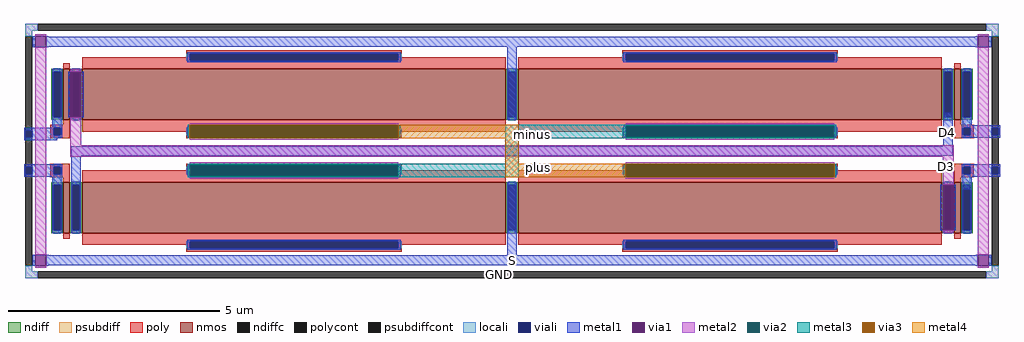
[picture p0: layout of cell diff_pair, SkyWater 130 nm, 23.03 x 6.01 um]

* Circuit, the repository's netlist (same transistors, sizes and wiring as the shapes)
** sch_path: /home/gilang_fajrul/chipalooza/sky130_gff_ip__bgr_1.2v/magic/diff_pair.sch
.subckt diff_pair minus plus D4 D3 S GND GND
*.PININFO minus:B plus:B D4:B D3:B S:B GND:B GND:B
XM3 D3 plus S GND sky130_fd_pr__nfet_01v8 L=10 W=1.2 nf=1 m=2
XM4 D4 minus S GND sky130_fd_pr__nfet_01v8 L=10 W=1.2 nf=1 m=2
XM1 D3 GND GND GND sky130_fd_pr__nfet_01v8 L=0.15 W=1.2 nf=1 m=2
XM2 D4 GND GND GND sky130_fd_pr__nfet_01v8 L=0.15 W=1.2 nf=1 m=2
.ends
.end

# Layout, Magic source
magic
tech sky130A
magscale 1 2
<< psubdiff >>
rect -218 507 -158 541
rect 4316 507 4376 541
rect -218 481 -184 507
rect 4342 481 4376 507
rect -218 -627 -184 -601
rect 4342 -627 4376 -601
rect -218 -661 -158 -627
rect 4316 -661 4376 -627
<< psubdiffcont >>
rect -158 507 4316 541
rect -218 -601 -184 481
rect 4342 -601 4376 481
rect -158 -661 4316 -627
<< poly >>
rect -38 65 -8 87
rect -100 49 -8 65
rect -100 15 -84 49
rect -50 15 -8 49
rect -100 -1 -8 15
rect 4166 65 4196 87
rect 4166 49 4258 65
rect 4166 15 4208 49
rect 4242 15 4258 49
rect 4166 -1 4258 15
rect -100 -135 -8 -119
rect -100 -169 -84 -135
rect -50 -169 -8 -135
rect -100 -185 -8 -169
rect 4166 -135 4258 -119
rect 4166 -169 4208 -135
rect 4242 -169 4258 -135
rect 4166 -185 4258 -169
rect -38 -207 -8 -185
<< polycont >>
rect -84 15 -50 49
rect 4208 15 4242 49
rect -84 -169 -50 -135
rect 4208 -169 4242 -135
<< locali >>
rect -218 507 -158 541
rect 4316 507 4376 541
rect -218 481 -184 507
rect 4342 481 4376 507
rect -84 49 -50 87
rect -84 -1 -50 15
rect 4208 49 4242 87
rect 4208 -1 4242 15
rect -84 -135 -50 -119
rect -84 -207 -50 -169
rect 4208 -135 4242 -119
rect 4208 -244 4242 -169
rect -218 -627 -184 -601
rect 4342 -627 4376 -601
rect -218 -661 -158 -627
rect 4316 -661 4376 -627
<< viali >>
rect -218 3 -184 37
rect -84 15 -50 49
rect 4208 15 4242 49
rect 4342 15 4376 49
rect -218 -169 -184 -135
rect -84 -169 -50 -135
rect 4208 -169 4242 -135
rect 4342 -169 4376 -135
<< metal1 >>
rect -182 430 -172 482
rect -120 479 -110 482
rect 4268 479 4278 482
rect -120 433 4278 479
rect -120 430 -110 433
rect 2056 320 2102 433
rect 4268 430 4278 433
rect 4330 430 4340 482
rect -15 99 -5 315
rect 47 99 57 315
rect 2062 99 2096 320
rect -90 49 -44 87
rect -224 37 -84 49
rect -224 3 -218 37
rect -184 15 -84 37
rect -50 15 -44 49
rect -184 3 -44 15
rect 548 6 558 58
rect 1542 6 1552 58
rect 2606 6 2616 58
rect 3600 6 3610 58
rect -224 -9 -66 3
rect 4114 -37 4160 120
rect 4202 61 4248 87
rect 4202 49 4382 61
rect 4202 15 4208 49
rect 4242 15 4342 49
rect 4376 15 4382 49
rect 4202 3 4382 15
rect -2 -83 4160 -37
rect -224 -135 -44 -123
rect -224 -169 -218 -135
rect -184 -169 -84 -135
rect -50 -169 -44 -135
rect -224 -181 -44 -169
rect -90 -207 -44 -181
rect -2 -214 44 -83
rect 548 -178 558 -126
rect 1542 -178 1552 -126
rect 2606 -178 2616 -126
rect 3600 -178 3610 -126
rect 4202 -135 4382 -123
rect 4202 -169 4208 -135
rect 4242 -169 4342 -135
rect 4376 -169 4382 -135
rect 4202 -181 4382 -169
rect -182 -602 -172 -550
rect -120 -553 -110 -550
rect 2056 -553 2102 -207
rect 4101 -435 4111 -219
rect 4163 -435 4173 -219
rect 4202 -240 4248 -181
rect 4268 -553 4278 -550
rect -120 -599 4278 -553
rect -120 -602 -110 -599
rect 4268 -602 4278 -599
rect 4330 -602 4340 -550
<< via1 >>
rect -172 430 -120 482
rect 4278 430 4330 482
rect -5 99 47 315
rect 558 6 1542 58
rect 2616 6 3600 58
rect 558 -178 1542 -126
rect 2616 -178 3600 -126
rect -172 -602 -120 -550
rect 4111 -435 4163 -219
rect 4278 -602 4330 -550
<< metal2 >>
rect -172 482 -120 492
rect -172 -550 -120 430
rect 4278 482 4330 492
rect -5 315 47 325
rect -5 -34 47 99
rect 558 60 1542 70
rect 558 -6 1542 4
rect 2616 60 3600 70
rect 2616 -6 3600 4
rect -5 -86 4163 -34
rect 558 -124 1542 -114
rect 558 -190 1542 -180
rect 2616 -124 3600 -114
rect 2616 -190 3600 -180
rect 4111 -219 4163 -86
rect 4111 -445 4163 -435
rect -172 -612 -120 -602
rect 4278 -550 4330 430
rect 4278 -612 4330 -602
<< via2 >>
rect 558 58 1542 60
rect 558 6 1542 58
rect 558 4 1542 6
rect 2616 58 3600 60
rect 2616 6 3600 58
rect 2616 4 3600 6
rect 558 -126 1542 -124
rect 558 -178 1542 -126
rect 558 -180 1542 -178
rect 2616 -126 3600 -124
rect 2616 -178 3600 -126
rect 2616 -180 3600 -178
<< metal3 >>
rect 548 64 1552 65
rect 548 0 558 64
rect 1542 0 1552 64
rect 548 -1 1552 0
rect 2046 60 3610 65
rect 2046 4 2616 60
rect 3600 4 3610 60
rect 2046 -1 3610 4
rect 2046 -119 2112 -1
rect 548 -124 2112 -119
rect 548 -180 558 -124
rect 1542 -180 2112 -124
rect 548 -185 2112 -180
rect 2606 -120 3610 -119
rect 2606 -184 2616 -120
rect 3600 -184 3610 -120
rect 2606 -185 3610 -184
<< via3 >>
rect 558 60 1542 64
rect 558 4 1542 60
rect 558 0 1542 4
rect 2616 -124 3600 -120
rect 2616 -180 3600 -124
rect 2616 -184 3600 -180
<< metal4 >>
rect 557 64 1543 65
rect 557 0 558 64
rect 1542 0 2111 64
rect 557 -1 1543 0
rect 2047 -120 2111 0
rect 2615 -120 3601 -119
rect 2047 -184 2616 -120
rect 3600 -184 3601 -120
rect 2615 -185 3601 -184
use sky130_fd_pr__nfet_01v8_BHCXYW  sky130_fd_pr__nfet_01v8_BHCXYW_0
transform 1 0 2079 0 1 -327
box -2087 -208 2087 208
use sky130_fd_pr__nfet_01v8_BHCXYW  sky130_fd_pr__nfet_01v8_BHCXYW_1
transform 1 0 2079 0 1 207
box -2087 -208 2087 208
use sky130_fd_pr__nfet_01v8_HB7GG4  sky130_fd_pr__nfet_01v8_HB7GG4_1
transform 1 0 -23 0 1 -327
box -73 -146 73 146
use sky130_fd_pr__nfet_01v8_HB7GG4  sky130_fd_pr__nfet_01v8_HB7GG4_2
transform 1 0 -23 0 1 207
box -73 -146 73 146
use sky130_fd_pr__nfet_01v8_HB7GG4  sky130_fd_pr__nfet_01v8_HB7GG4_3
transform 1 0 4181 0 1 207
box -73 -146 73 146
use sky130_fd_pr__nfet_01v8_HB7GG4  sky130_fd_pr__nfet_01v8_HB7GG4_4
transform 1 0 4181 0 1 -327
box -73 -146 73 146
<< labels >>
flabel metal2 4130 -134 4130 -134 0 FreeSans 160 0 0 0 D3
port 1 nsew
flabel metal1 4136 25 4136 25 0 FreeSans 160 0 0 0 D4
port 2 nsew
flabel metal1 2081 -575 2081 -575 0 FreeSans 160 0 0 0 S
port 3 nsew
flabel psubdiffcont 2018 -642 2018 -642 0 FreeSans 160 0 0 0 GND
port 5 nsew
flabel metal4 2206 -137 2206 -137 0 FreeSans 160 0 0 0 plus
port 6 nsew
flabel metal3 2176 16 2176 16 0 FreeSans 160 0 0 0 minus
port 8 nsew
<< end >>

# cell sky130_fd_pr__nfet_01v8_BHCXYW: kit device sky130_fd_pr__nfet_01v8, w 1.2 l 10 m 1 nf 2 diffcov 100 polycov 50 guard 0 glc 1 grc 1 gtc 1 gbc 1 tbcov 100 rlcov 100 topc 1 botc 1 poverlap 0 doverlap 1 lmin 0.15 wmin 0.42 compatible {sky130_fd_pr__nfet_01v8 sky130_fd_pr__nfet_01v8_lvt sky130_fd_bs_flash__special_sonosfet_star sky130_fd_pr__nfet_g5v0d10v5 sky130_fd_pr__nfet_05v0_nvt sky130_fd_pr__nfet_03v3_nvt} full_metal 1 viasrc 100 viadrn 100 viagate 50 viagb 0 viagr 0 viagl 0 viagt 0

# cell sky130_fd_pr__nfet_01v8_HB7GG4: kit device sky130_fd_pr__nfet_01v8, w 1.2 l 0.150 m 1 nf 1 diffcov 100 polycov 100 guard 0 glc 1 grc 1 gtc 1 gbc 1 tbcov 100 rlcov 100 topc 0 botc 0 poverlap 0 doverlap 1 lmin 0.15 wmin 0.42 compatible {sky130_fd_pr__nfet_01v8 sky130_fd_pr__nfet_01v8_lvt sky130_fd_bs_flash__special_sonosfet_star sky130_fd_pr__nfet_g5v0d10v5 sky130_fd_pr__nfet_05v0_nvt sky130_fd_pr__nfet_03v3_nvt} full_metal 1 viasrc 100 viadrn 100 viagate 100 viagb 0 viagr 0 viagl 0 viagt 0
